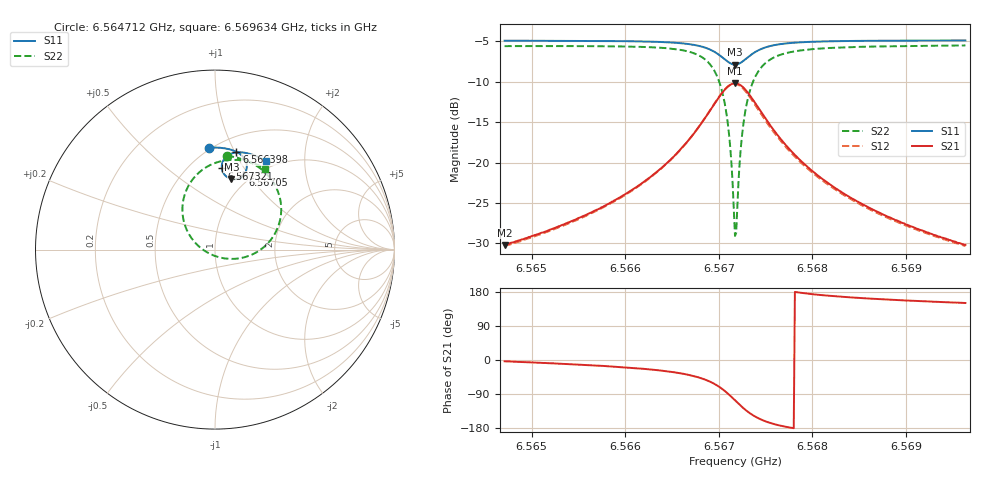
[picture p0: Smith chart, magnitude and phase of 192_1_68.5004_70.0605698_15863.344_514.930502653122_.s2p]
#  HZ  S  RI  R  50.00
! Rohde & Schwarz Vector Network Analyzer
! Rohde-Schwarz,ZNB20-2Port,1311601062101988,3.16
! Created: UTC 3/20/2024, 5:12:17 PM
! freq[Hz]  re:S11  im:S11  re:S21  im:S21  re:S12  im:S12  re:S22  im:S22
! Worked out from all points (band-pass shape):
!   401 points, 6.564712 GHz to 6.569634 GHz, reference 50 ohm
!   highest |S21| = -10.18 dB at 6.567173 GHz (marker M1); lowest = -30.2 dB at 6.564712 GHz (marker M2)
!   |S21| within 3 dB of the highest: 6.566928 GHz to 6.56742 GHz (492.3 kHz wide, 0.0075 % of centre)
!   lowest |S11| = -7.9 dB at 6.567173 GHz (marker M3), VSWR 2.36, Z = 42.7 + j40.2 ohm
!   |S11| at or under -10 dB: nowhere
!   |S22| runs from -29.1 to -5.5 dB; largest |S21 - S12| = 0.015
!   S11 on the Smith chart (normalised r, x): 6.564712 GHz: 0.48, +0.81; 6.566398 GHz: 0.64, +1.02; 6.56705 GHz: 0.91, +0.94; 6.567321 GHz: 0.70, +0.80; 6.569634 GHz: 0.89, +1.31
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6.5647121e9  -0.0353 0.568  0.0309 -0.00183  0.0303 -0.00246  0.0663 0.5221
6.5655365e9  0.0338 0.5667  0.045 -0.0103  0.0443 -0.0107  0.1486 0.5049
6.566361e9  0.1146 0.5471  0.08 -0.0412  0.0788 -0.0422  0.2686 0.4393
6.5663979e9  0.1189 0.545  0.0826 -0.0443  0.0814 -0.0455  0.276 0.4328
6.5666686e9  0.1526 0.5211  0.1059 -0.085  0.1043 -0.0868  0.3373 0.3533
6.5668532e9  0.174 0.4851  0.1169 -0.1482  0.114 -0.1512  0.3689 0.2318
6.5669639e9  0.1756 0.4481  0.1012 -0.2128  0.0954 -0.217  0.3434 0.1082
6.5670501e9  0.1576 0.4137  0.053 -0.2716  0.0428 -0.2747  0.2539 -0.000387
6.567087e9  0.1421 0.4012  0.0179 -0.2915  0.00576 -0.2927  0.1885 -0.035
6.5671116e9  0.1291 0.3953  -0.00987 -0.3  -0.0232 -0.2994  0.1371 -0.0485
6.5671608e9  0.0993 0.3923  -0.0718 -0.3008  -0.0856 -0.2954  0.0256 -0.0436
6.5671731e9  0.0918 0.3935  -0.0871 -0.2971  -0.1007 -0.2905  -0.00157 -0.0351
6.5671854e9  0.0843 0.3956  -0.1024 -0.292  -0.1153 -0.2841  -0.0277 -0.024
6.5671977e9  0.0772 0.3985  -0.1167 -0.2854  -0.1292 -0.2764  -0.0524 -0.0103
6.5672347e9  0.0588 0.4113  -0.1541 -0.2583  -0.164 -0.2466  -0.1144 0.0428
6.5672593e9  0.0495 0.4224  -0.1733 -0.236  -0.1808 -0.2235  -0.1442 0.0845
6.5673208e9  0.0382 0.4524  -0.1992 -0.1766  -0.2017 -0.1638  -0.1799 0.1922
6.5674192e9  0.0444 0.4927  -0.1963 -0.0988  -0.1941 -0.0892  -0.1612 0.3273
6.5675669e9  0.0722 0.5251  -0.1609 -0.0358  -0.1573 -0.0304  -0.0852 0.4326
6.5679976e9  0.1404 0.5421  -0.0882 0.00962  -0.0861 0.011  0.0724 0.4991
6.568822e9  0.2215 0.5241  -0.0429 0.0161  -0.0419 0.0164  0.2047 0.4839
6.5696342e9  0.2832 0.4955  -0.0269 0.0153  -0.0262 0.0154  0.281 0.4512
